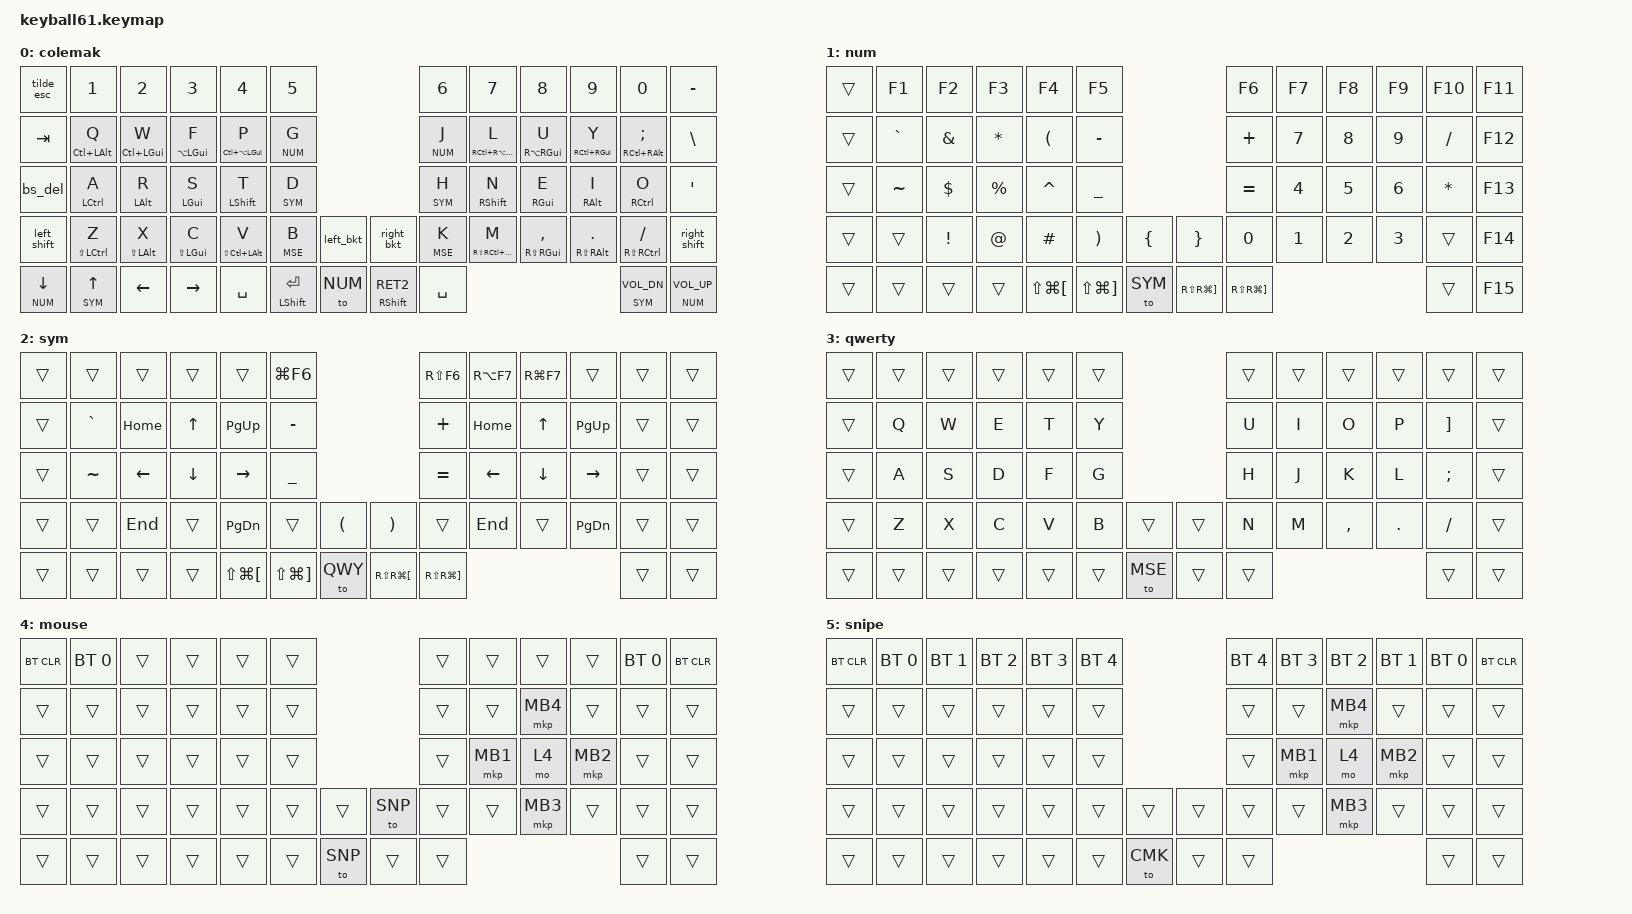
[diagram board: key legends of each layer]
 #include <behaviors.dtsi>
#include <behaviors/mouse_keys.dtsi>
#include <dt-bindings/zmk/bt.h>
#include <dt-bindings/zmk/keys.h>
#include <dt-bindings/zmk/mouse.h>
#include <zephyr/dt-bindings/input/input-event-codes.h>

#include "zmk-helpers/helper.h"
#include "key-labels/keyball61.h"

#define HOME_MOD_L LM1 LM2 LM3 LM4 // left hand
#define HOME_MOD_R RM1 RM2 RM3 RM4 // right hand
#define KEYS_L LN0 LN1 LN2 LN3 LN4 LN5 LT0 LT1 LT2 LT3 LT4 LT5 LM0 LM1 LM2 LM3 LM4 LM5 LB0 LB1 LB2 LB3 LB4 LB5 // left hand
#define KEYS_R RN0 RN1 RN2 RN3 RN4 RN5 RT0 RT1 RT2 RT3 RT4 RT5 RM0 RM1 RM2 RM3 RM4 RM5 RB0 RB1 RB2 RB3 RB4 RB5 // right hand
#define NOT_HOME_L LN0 LN1 LN2 LN3 LN4 LN5 LT0 LT1 LT2 LT3 LT4 LT5 LM0 LM5 LB0 LB1 LB2 LB3 LB4 LB5 // left hand
#define NOT_HOME_R RN0 RN1 RN2 RN3 RN4 RN5 RT0 RT1 RT2 RT3 RT4 RT5 RM0 LM5 RB0 RB1 RB2 RB3 RB4 RB5 // right hand
#define THUMBS_L LH0 LH1 LH2 LH3 LH4 LH5 LH6
#define THUMBS_R RH0 RH1 RH2 RH3

#define CMK   0 // Colemak
#define NUM   1
#define SYM   2
#define QWY   3 // QWERTY
#define MSE   4 // MOUSE
#define SNP   5 // SNIPE

#define HOLD_TAPPING_TERM_MS 180
#define QUICK_TAP_MS 175
#define REQ_PRIOR_IDLE_MS 150
#define TAPPING_TERM_MS 200

&lt {
  tapping-term-ms = <TAPPING_TERM_MS>;
  flavor = "balanced";
  quick-tap-ms = <REQ_PRIOR_IDLE_MS>;
};

&mmv {
  acceleration-exponent = <1>;      // 1
  time-to-max-speed-ms = <500>;     // 500
  delay-ms = <0>;                   // 0
};

&msc {
  acceleration-exponent = <1>;      // 0
  time-to-max-speed-ms = <40>;      // 300
  delay-ms = <0>;                   // 0
};

&mt {
  flavor = "tap-preferred";
  hold-trigger-key-positions = <0>;
  quick-tap-ms = <220>;
  tapping-term-ms = <220>;
};

&sl {
  release-after-ms = <300000>; // 5 * 60 * 1000
};

/* HRM combos */
#define MAKE_HRM(NAME, HOLD, TAP, TRIGGER_POS) \
    ZMK_HOLD_TAP(NAME, \
        flavor = "balanced"; \
        tapping-term-ms = <HOLD_TAPPING_TERM_MS>; \
        quick-tap-ms = <QUICK_TAP_MS>; \
        require-prior-idle-ms = <REQ_PRIOR_IDLE_MS>; \
        bindings = <HOLD>, <TAP>; \
        hold-trigger-key-positions = <TRIGGER_POS>; \
        hold-trigger-on-release; \
    )
MAKE_HRM(hml, &kp, &kp, KEYS_R THUMBS_R THUMBS_L)  // left-hand HRMs
MAKE_HRM(hmr, &kp, &kp, KEYS_L THUMBS_L THUMBS_R)  // right-hand HRMs

// HRM combo hack - workaround for lack of tap-only combos (ZMK issue #544)
#define ZMK_COMBO_8(NAME, TAP, KEYPOS, LAYERS, COMBO_TERM, COMBO_IDLE, HOLD, SIDE) \
    MAKE_HRM(hm_combo_ ## NAME, &kp, TAP, SIDE THUMBS) \
    ZMK_COMBO_6(NAME, &hm_combo_ ## NAME HOLD 0, KEYPOS, LAYERS, COMBO_TERM, COMBO_IDLE)

#include "keyball61.combos.dtsi"
#include "keyball61.tapdance.dtsi"

/* Mod morphs */
ZMK_MOD_MORPH(bs_del,
  bindings = <&kp BACKSPACE>, <&kp DELETE>;
  keep-mods = <MOD_RSFT>;
  mods = <(MOD_LSFT|MOD_RSFT)>;
)
ZMK_MOD_MORPH(gr_esc,
  bindings = <&kp ESC>, <&kp GRAVE>;
  mods = <(MOD_LGUI|MOD_LSFT|MOD_RGUI|MOD_RSFT)>;
)
ZMK_MOD_MORPH(tilde_esc,
  bindings = <&gr_esc>, <&kp TILDE>;
  mods = <(MOD_LALT|MOD_LCTL|MOD_RALT|MOD_RCTL)>;
)

/* Keymap */
/ {
  keymap {
    compatible = "zmk,keymap";
/********************************************************************************/
/* COLEMAK */
/********************************************************************************/
colemak { bindings = <
&tilde_esc      &kp N1            &kp N2           &kp N3           &kp N4               &kp N5                                        &kp N6           &kp N7               &kp N8               &kp N9             &kp N0               &kp MINUS
&kp TAB         &hml LC(LALT) Q   &hml LC(LGUI) W  &hml LA(LGUI) F  &hml LC(LA(LGUI)) P  &lt NUM G                                     &lt NUM J        &hmr RC(RA(RGUI)) L  &hmr RA(RGUI) U      &hmr RC(RGUI) Y    &hmr RC(RALT) SEMI   &kp BSLH
&bs_del         &hml LCTRL A      &hml LALT R      &hml LGUI S      &hml LSHIFT T        &lt SYM D                                     &lt SYM H        &hmr RSHIFT N        &hmr RGUI E          &hmr RALT I        &hmr RCTRL O         &kp SQT
&left_shift     &hml LS(LCTRL) Z  &hml LS(LALT) X  &hml LS(LGUI) C  &hml LS(LC(LALT)) V  &lt MSE B         &left_bkt  &right_bkt       &lt MSE K        &hmr RS(RC(RALT)) M  &hmr RS(RGUI) COMMA  &hmr RS(RALT) DOT  &hmr RS(RCTRL) FSLH  &right_shift
&lt NUM DOWN    &lt SYM UP        &kp LEFT         &kp RIGHT        &kp SPACE            &hml LSHFT RET    &to NUM    &hmr RSHFT RET2  &kp SPACE                                                                 &lt SYM C_VOL_DN     &lt NUM C_VOL_UP
>; }; // colemak
/********************************************************************************/
/* NUM */
/********************************************************************************/
num { bindings = <
&trans          &kp F1            &kp F2           &kp F3            &kp F4              &kp F5                                        &kp F6           &kp F7               &kp F8               &kp F9             &kp F10              &kp F11
&trans          &kp GRAVE         &kp AMPS         &kp STAR          &kp LPAR            &kp MINUS                                     &kp PLUS         &kp N7               &kp N8               &kp N9             &kp FSLH             &kp F12
&trans          &kp TILDE         &kp DLLR         &kp PRCNT         &kp CARET           &kp UNDER                                     &kp EQUAL        &kp N4               &kp N5               &kp N6             &kp STAR             &kp F13
&trans          &trans            &kp EXCL         &kp AT            &kp HASH            &kp RPAR          &kp LBRC   &kp RBRC         &kp N0           &kp N1               &kp N2               &kp N3             &trans               &kp F14
&trans          &trans            &trans           &trans            &kp LS(LG(LBKT))    &kp LS(LG(RBKT))  &to SYM    &kp RS(RG(RBKT)) &kp RS(RG(RBKT))                                                              &trans               &kp F15
>; }; // num 
/********************************************************************************/
/* SYM */
/********************************************************************************/
sym { bindings = <
&trans          &trans            &trans           &trans            &trans              &kp LG(F6)                                    &kp RS(F6)       &kp RA(F7)           &kp RG(F7)           &trans             &trans               &trans
&trans          &kp GRAVE         &kp HOME         &kp UP            &kp PG_UP           &kp MINUS                                     &kp PLUS         &kp HOME             &kp UP               &kp PG_UP          &trans               &trans
&trans          &kp TILDE         &kp LEFT         &kp DOWN          &kp RIGHT           &kp UNDER                                     &kp EQUAL        &kp LEFT             &kp DOWN             &kp RIGHT          &trans               &trans
&trans          &trans            &kp END          &trans            &kp PG_DN           &trans            &kp LPAR   &kp RPAR         &trans           &kp END              &trans               &kp PG_DN          &trans               &trans
&trans          &trans            &trans           &trans            &kp LS(LG(LBKT))    &kp LS(LG(RBKT))  &to QWY    &kp RS(RG(LBKT)) &kp RS(RG(RBKT))                                                              &trans               &trans
>; }; // sym
/********************************************************************************/
/* QWERTY */
/********************************************************************************/
qwerty { bindings = <
&trans          &trans            &trans           &trans            &trans              &trans                                        &trans           &trans               &trans               &trans             &trans               &trans
&trans          &kp Q             &kp W            &kp E             &kp T               &kp Y                                         &kp U            &kp I                &kp O                &kp P              &kp RBKT             &trans
&trans          &kp A             &kp S            &kp D             &kp F               &kp G                                         &kp H            &kp J                &kp K                &kp L              &kp SEMI             &trans
&trans          &kp Z             &kp X            &kp C             &kp V               &kp B             &trans     &trans           &kp N            &kp M                &kp COMMA            &kp DOT            &kp FSLH             &trans
&trans          &trans            &trans           &trans            &trans              &trans            &to MSE    &trans           &trans                                                                        &trans               &trans
>; }; // qwerty
/********************************************************************************/
/* MOUSE */
/********************************************************************************/
mouse { bindings = <
&bt BT_CLR      &bt BT_SEL 0      &trans           &trans            &trans              &trans                                        &trans           &trans               &trans               &trans             &bt BT_SEL 0         &bt BT_CLR
&trans          &trans            &trans           &trans            &trans              &trans                                        &trans           &trans               &mkp MB4             &trans             &trans               &trans
&trans          &trans            &trans           &trans            &trans              &trans                                        &trans           &mkp MB1             &mo 4                &mkp MB2           &trans               &trans
&trans          &trans            &trans           &trans            &trans              &trans            &trans     &to SNP          &trans           &trans               &mkp MB3             &trans             &trans               &trans
&trans          &trans            &trans           &trans            &trans              &trans            &to SNP    &trans           &trans                                                                        &trans               &trans
>; }; // mouse
/********************************************************************************/
/* SNIPE */
/********************************************************************************/
snipe { bindings = <
&bt BT_CLR      &bt BT_SEL 0      &bt BT_SEL 1     &bt BT_SEL 2      &bt BT_SEL 3        &bt BT_SEL 4                                  &bt BT_SEL 4     &bt BT_SEL 3         &bt BT_SEL 2         &bt BT_SEL 1       &bt BT_SEL 0         &bt BT_CLR
&trans          &trans            &trans           &trans            &trans              &trans                                        &trans           &trans               &mkp MB4             &trans             &trans               &trans
&trans          &trans            &trans           &trans            &trans              &trans                                        &trans           &mkp MB1             &mo 4                &mkp MB2           &trans               &trans
&trans          &trans            &trans           &trans            &trans              &trans            &trans     &trans           &trans           &trans               &mkp MB3             &trans             &trans               &trans
&trans          &trans            &trans           &trans            &trans              &trans            &to CMK    &trans           &trans                                                                        &trans               &trans
>; }; // snipe
  };
};
